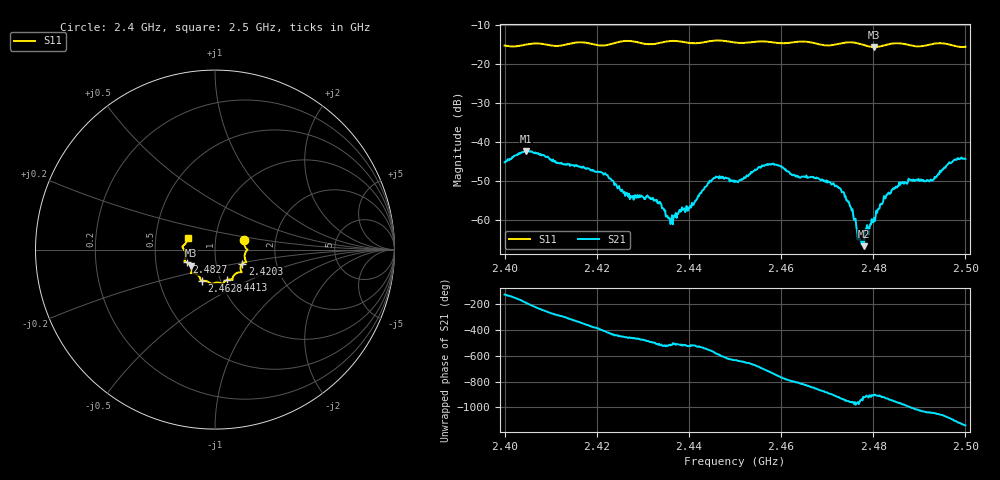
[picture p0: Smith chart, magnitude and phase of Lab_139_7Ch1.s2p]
# Hz S RI R 50
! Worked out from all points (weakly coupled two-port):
!   601 points, 2.4 GHz to 2.5 GHz, reference 50 ohm
!   highest |S21| = -42.42 dB at 2.4047 GHz (marker M1); lowest = -66.8 dB at 2.478 GHz (marker M2)
!   lowest |S11| = -15.8 dB at 2.4802 GHz (marker M3), VSWR 1.39, Z = 37.5 - j6.9 ohm
!   |S11| at or under -10 dB: start of sweep to end of sweep
!   S12 and S22 are empty: the file has one direction only
!   S11 on the Smith chart (normalised r, x): 2.4 GHz: 1.38, +0.15; 2.4203 GHz: 1.34, -0.22; 2.4413 GHz: 1.08, -0.38; 2.4628 GHz: 0.82, -0.29; 2.4827 GHz: 0.72, -0.10; 2.5 GHz: 0.73, +0.10
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2.4e9  0.1617 0.0529  -0.00304 -0.00451  0 0  0 0
2.404667e9  0.1753 0.00515  -0.00751 0.000944  0 0  0 0
2.416667e9  0.1742 -0.0693  0.00454 0.00114  0 0  0 0
2.420333e9  0.1522 -0.0794  0.00363 -0.00186  0 0  0 0
2.426667e9  0.1491 -0.1261  -0.000351 -0.00203  0 0  0 0
2.433333e9  0.1001 -0.1521  -0.00149 -0.000736  0 0  0 0
2.436e9  0.0982 -0.168  -0.000816 -0.000319  0 0  0 0
2.441333e9  0.067 -0.1691  -0.00163 -0.000593  0 0  0 0
2.4455e9  0.043 -0.1919  -0.00284 0.00192  0 0  0 0
2.45e9  0.0244 -0.1845  0.000223 0.00303  0 0  0 0
2.457833e9  -0.0287 -0.186  0.00502 -0.000865  0 0  0 0
2.462833e9  -0.072 -0.1736  0.000576 -0.00366  0 0  0 0
2.466667e9  -0.0807 -0.1675  -0.00205 -0.00286  0 0  0 0
2.473167e9  -0.1282 -0.1304  -0.00187 0.00125  0 0  0 0
2.475167e9  -0.134 -0.1312  -0.00078 0.00119  0 0  0 0
2.477167e9  -0.1303 -0.1222  -0.000383 0.000408  0 0  0 0
2.478e9  -0.1292 -0.1145  -0.000422 0.000172  0 0  0 0
2.480167e9  -0.1359 -0.0895  -0.00105 6.52e-05  0 0  0 0
2.482667e9  -0.1578 -0.0705  -0.00163 0.000913  0 0  0 0
2.483333e9  -0.1631 -0.0684  -0.00181 0.00128  0 0  0 0
2.492667e9  -0.1769 0.00773  0.00254 0.00186  0 0  0 0
2.5e9  -0.151 0.0646  0.00291 -0.00521  0 0  0 0
